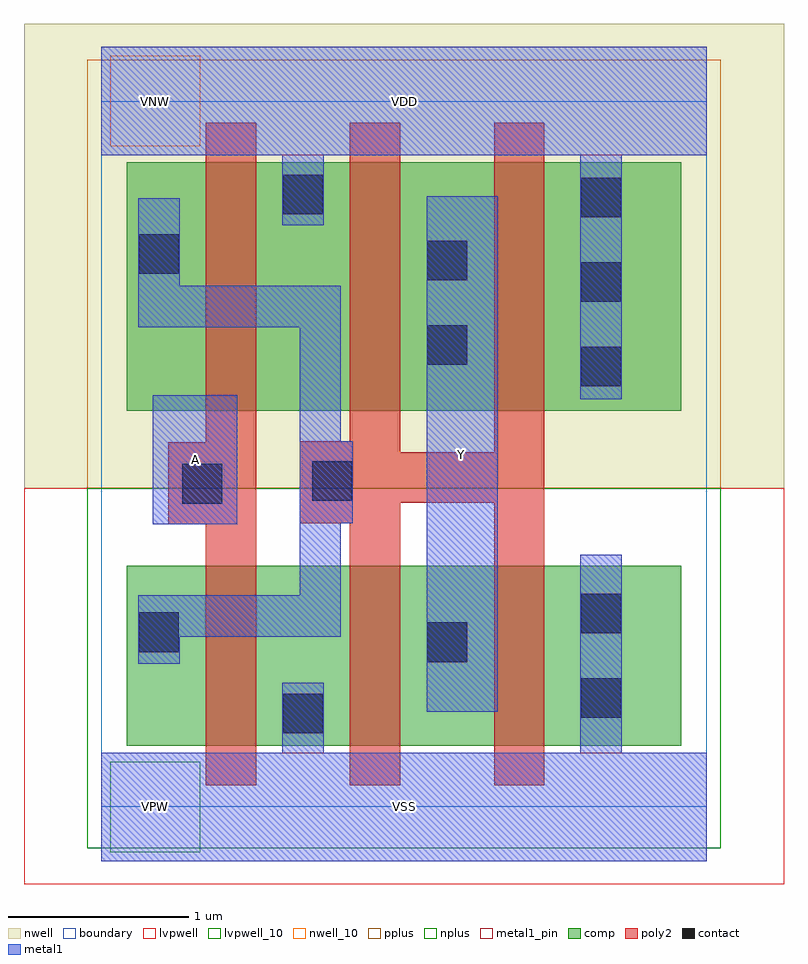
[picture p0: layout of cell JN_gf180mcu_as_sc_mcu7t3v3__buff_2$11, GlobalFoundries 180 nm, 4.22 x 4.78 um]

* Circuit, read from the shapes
.subckt JN_gf180mcu_as_sc_mcu7t3v3__buff_2$11 A VDD VNW VSS Y
XM1 VSS A n1 VSUBS nfet_03v3 w=1u l=0.28u
XM2 Y n1 VSS VSUBS nfet_03v3 w=1u l=0.28u m=2
XM3 VDD A n1 VNW pfet_03v3 w=1.38u l=0.28u
XM4 Y n1 VDD VNW pfet_03v3 w=1.38u l=0.28u m=2
.ends

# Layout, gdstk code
import gdstk
lib = gdstk.Library(unit=1e-6, precision=1e-09)
def R(c, l, rs):  # rectangles x0, y0, x1, y1
    for r in rs: c.add(gdstk.rectangle(r[:2], r[2:], *l))
def A(c, l, x, y, w, h, nx, ny, dx, dy):  # array of equal rectangles
    R(c, l, [(x+i*dx, y+j*dy, x+i*dx+w, y+j*dy+h) for i in range(nx) for j in range(ny)])
boundary = (0, 0)
nwell = (21, 0)
nwell_10 = (21, 10)
comp = (22, 0)
poly2 = (30, 0)
pplus = (31, 0)
nplus = (32, 0)
contact = (33, 0)
metal1 = (34, 0)
metal1_pin = (34, 10)
lvpwell = (204, 0)
lvpwell_10 = (204, 10)

jn_gf180mcu_as_sc_mcu7t3 = lib.new_cell('JN_gf180mcu_as_sc_mcu7t3v3__buff_2$11')
R(jn_gf180mcu_as_sc_mcu7t3, boundary, [(0,0,3.36,3.92)])
R(jn_gf180mcu_as_sc_mcu7t3, nwell, [(-0.43,1.77,3.79,4.35)])
R(jn_gf180mcu_as_sc_mcu7t3, nwell_10, [(0.05,3.67,0.55,4.17)])
R(jn_gf180mcu_as_sc_mcu7t3, comp, [(0.14,0.34,3.22,1.34), (0.14,2.2,3.22,3.58)])
R(jn_gf180mcu_as_sc_mcu7t3, poly2, [(0.58,0.12,0.86,1.57), (1.38,0.12,1.66,1.575), (2.18,0.12,2.46,1.69), (0.37,1.57,0.86,2.025), (1.1,1.575,1.66,1.69), (1.1,1.69,2.46,1.97), (1.1,1.97,1.66,2.03), (2.18,1.97,2.46,3.8), (0.58,2.025,0.86,3.8), (1.38,2.03,1.66,3.8)])
R(jn_gf180mcu_as_sc_mcu7t3, pplus, [(-0.08,1.77,3.44,4.15)])
R(jn_gf180mcu_as_sc_mcu7t3, nplus, [(-0.08,-0.23,3.44,1.77)])
A(jn_gf180mcu_as_sc_mcu7t3, contact, 2.665, 2.335, 0.22, 0.22, 1, 3, 0, 0.47)
R(jn_gf180mcu_as_sc_mcu7t3, contact, [(1.01,0.41,1.23,0.63), (2.665,0.495,2.885,0.715), (1.81,0.805,2.03,1.025), (0.21,0.86,0.43,1.08), (2.665,0.965,2.885,1.185), (0.45,1.685,0.67,1.905), (1.17,1.7,1.39,1.92), (1.81,2.455,2.03,2.675), (1.81,2.925,2.03,3.145), (0.21,2.96,0.43,3.18), (1.01,3.29,1.23,3.51)])
R(jn_gf180mcu_as_sc_mcu7t3, metal1, [(0,-0.3,3.36,0.3), (1.005,0.3,1.235,0.69), (2.66,0.3,2.89,1.4), (1.805,0.53,2.2,3.39), (0.205,0.795,0.435,0.945), (0.205,0.945,1.33,1.175), (1.1,1.175,1.33,1.575), (0.285,1.57,0.755,2.285), (1.1,1.575,1.395,2.03), (1.1,2.03,1.33,2.665), (2.66,2.265,2.89,3.62), (0.205,2.665,1.33,2.895), (0.205,2.895,0.435,3.38), (1.005,3.23,1.235,3.62), (0,3.62,3.36,4.22)])
R(jn_gf180mcu_as_sc_mcu7t3, metal1_pin, [(0,-0.3,3.36,0.3), (1.805,0.53,2.2,3.39), (0.285,1.57,0.755,2.285), (0,3.62,3.36,4.22)])
R(jn_gf180mcu_as_sc_mcu7t3, lvpwell, [(-0.43,-0.43,3.79,1.77)])
R(jn_gf180mcu_as_sc_mcu7t3, lvpwell_10, [(0.05,-0.25,0.55,0.25)])
jn_gf180mcu_as_sc_mcu7t3.add(gdstk.Label('Y', (2.002,1.96), layer=34, texttype=10))
jn_gf180mcu_as_sc_mcu7t3.add(gdstk.Label('A', (0.52,1.927), layer=34, texttype=10))
jn_gf180mcu_as_sc_mcu7t3.add(gdstk.Label('VSS', (1.68,0), layer=34, texttype=10))
jn_gf180mcu_as_sc_mcu7t3.add(gdstk.Label('VDD', (1.68,3.92), layer=34, texttype=10))
jn_gf180mcu_as_sc_mcu7t3.add(gdstk.Label('VNW', (0.3,3.92), layer=21, texttype=10))
jn_gf180mcu_as_sc_mcu7t3.add(gdstk.Label('VPW', (0.3,0), layer=204, texttype=10))

lib.write_gds('JN_gf180mcu_as_sc_mcu7t3v3__buff_2_11.gds')
